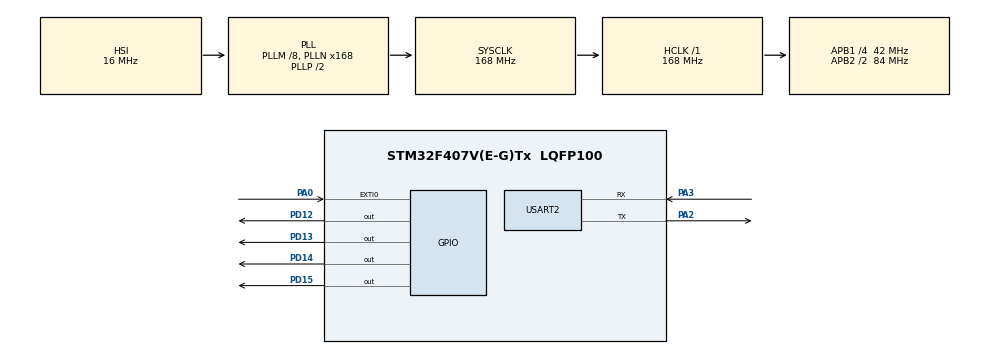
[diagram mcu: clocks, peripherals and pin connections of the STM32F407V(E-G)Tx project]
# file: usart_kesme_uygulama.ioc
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Mcu.Family=STM32F4
Mcu.Name=STM32F407V(E-G)Tx
Mcu.Package=LQFP100
NVIC.EXTI0_IRQn=true\:0\:0\:true\:false\:true\:true\:true\:true
NVIC.PriorityGroup=NVIC_PRIORITYGROUP_0
NVIC.USART2_IRQn=true\:0\:3\:true\:false\:true\:true\:true\:true
PA0-WKUP.Signal=GPXTI0
PA13.Mode=Serial_Wire
PA13.Signal=SYS_JTMS-SWDIO
PA14.Mode=Serial_Wire
PA14.Signal=SYS_JTCK-SWCLK
PA2.Mode=Asynchronous
PA2.Signal=USART2_TX
PA3.Mode=Asynchronous
PA3.Signal=USART2_RX
PD12.Signal=GPIO_Output
PD13.Signal=GPIO_Output
PD14.Signal=GPIO_Output
PD15.Signal=GPIO_Output
ProjectManager.HeapSize=0x200
ProjectManager.StackSize=0x400
ProjectManager.TargetToolchain=STM32CubeIDE
RCC.48MHZClocksFreq_Value=48000000
RCC.AHBFreq_Value=168000000
RCC.APB1CLKDivider=RCC_HCLK_DIV4
RCC.APB1Freq_Value=42000000
RCC.APB1TimFreq_Value=84000000
RCC.APB2CLKDivider=RCC_HCLK_DIV2
RCC.APB2Freq_Value=84000000
RCC.APB2TimFreq_Value=168000000
RCC.CortexFreq_Value=168000000
RCC.HCLKFreq_Value=168000000
RCC.HSE_VALUE=8000000
RCC.HSI_VALUE=16000000
RCC.LSE_VALUE=32768
RCC.PLLM=8
RCC.PLLN=168
RCC.PLLQ=7
RCC.SYSCLKFreq_VALUE=168000000
RCC.SYSCLKSource=RCC_SYSCLKSOURCE_PLLCLK
RCC.VCOOutputFreq_Value=336000000
USART2.VirtualMode=VM_ASYNC
board=STM32F407G-DISC1

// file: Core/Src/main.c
/* USER CODE BEGIN Header */
/**
 ******************************************************************************
 * @file           : main.c
 * @brief          : Main program body
 ******************************************************************************
 * @attention
 *
 * Copyright (c) 2025 STMicroelectronics.
 * All rights reserved.
 *
 * This software is licensed under terms that can be found in the LICENSE file
 * in the root directory of this software component.
 * If no LICENSE file comes with this software, it is provided AS-IS.
 *
 ******************************************************************************
 */
/* USER CODE END Header */
#include "main.h"

/* USER CODE BEGIN Includes */
#include "string.h"
#include "stdlib.h"

/* USER CODE END Includes */

/* USER CODE BEGIN PD */
#define anaprogram (GPIO_PIN_12|GPIO_PIN_15)
#define mesajBoyut 10
#define komut_1 "type1"
#define komut_2 "type2"

/* USER CODE END PD */

UART_HandleTypeDef huart2;

/* USER CODE BEGIN PV */

uint8_t rxKarakter;
char mesaj[mesajBoyut];
uint8_t bufferIndex = 0;
uint8_t blinkTime = 0;
uint8_t kesmeBayrak = 0;
uint8_t i;
int j;
uint16_t leds[] = { GPIO_PIN_12, GPIO_PIN_13, GPIO_PIN_14, GPIO_PIN_15 };
int k;

/* USER CODE END PV */

void SystemClock_Config(void);
static void MX_GPIO_Init(void);
static void MX_USART2_UART_Init(void);

int main(void)
{

  /* MCU Configuration--------------------------------------------------------*/

  /* Reset of all peripherals, Initializes the Flash interface and the Systick. */
  HAL_Init();

  /* Configure the system clock */
  SystemClock_Config();

  /* Initialize all configured peripherals */
  MX_GPIO_Init();
  MX_USART2_UART_Init();
  /* USER CODE BEGIN 2 */

	HAL_UART_Receive_IT(&huart2, &rxKarakter, 1);

  /* USER CODE END 2 */

  /* Infinite loop */
	while (1) {

    /* USER CODE BEGIN 3 */

		HAL_GPIO_WritePin(GPIOD, anaprogram, 1);

		if (kesmeBayrak == 1) {
			kesmeBayrak = 0;
			bufferIndex = 0;
			memset(mesaj, 0, mesajBoyut);
			HAL_GPIO_TogglePin(GPIOD, anaprogram);
			HAL_Delay(300);
			for (i = 0; i < 4; ++i) {
				if (kesmeBayrak == 4) break;
				HAL_GPIO_WritePin(GPIOD, leds[i], 1);
				HAL_Delay(300);
			}
			for (i = 0; i < 4; ++i) {
				if (kesmeBayrak == 4) break;
				HAL_GPIO_WritePin(GPIOD, leds[i], 0);
				HAL_Delay(300);
			}

		} else if (kesmeBayrak == 2) {
			kesmeBayrak = 0;
			bufferIndex = 0;
			memset(mesaj, 0, mesajBoyut);
			HAL_GPIO_TogglePin(GPIOD, anaprogram);
			HAL_Delay(300);
			for (j = 3; j >= 0; --j) {
				if (kesmeBayrak == 4) break;
				HAL_GPIO_WritePin(GPIOD, leds[j], 1);
				HAL_Delay(300);
			}
			HAL_GPIO_WritePin(GPIOD,
			GPIO_PIN_12 | GPIO_PIN_13 | GPIO_PIN_14 | GPIO_PIN_15, 0);

		} else if (kesmeBayrak == 3) {

			kesmeBayrak = 0;
			HAL_GPIO_TogglePin(GPIOD, anaprogram);
			HAL_Delay(300);
			for (k = 0; k < 10; ++k) {
				if (kesmeBayrak == 4) break;

				HAL_GPIO_WritePin(GPIOD, GPIO_PIN_12 | GPIO_PIN_14, 1);
				HAL_Delay(blinkTime * 100);
				HAL_GPIO_WritePin(GPIOD, GPIO_PIN_12 | GPIO_PIN_14, 0);
				HAL_Delay(blinkTime * 100);
			}

		}else if (kesmeBayrak == 4) {
			kesmeBayrak=0;
			HAL_GPIO_WritePin(GPIOD, GPIO_PIN_12|GPIO_PIN_13|GPIO_PIN_14|GPIO_PIN_15, 0);
			HAL_Delay(300);

			for (int m = 0; m < 2; ++m) {
				HAL_GPIO_WritePin(GPIOD, GPIO_PIN_13|GPIO_PIN_15, 1);
				HAL_Delay(300);
				HAL_GPIO_WritePin(GPIOD, GPIO_PIN_13|GPIO_PIN_15, 0);
				HAL_Delay(100);
				HAL_GPIO_WritePin(GPIOD, GPIO_PIN_12|GPIO_PIN_14, 1);
				HAL_Delay(300);
				HAL_GPIO_WritePin(GPIOD, GPIO_PIN_12|GPIO_PIN_14, 0);
			}

		}
	}
  /* USER CODE END 3 */
}

void SystemClock_Config(void)
{
  RCC_OscInitTypeDef RCC_OscInitStruct = {0};
  RCC_ClkInitTypeDef RCC_ClkInitStruct = {0};

  /** Configure the main internal regulator output voltage
  */
  __HAL_RCC_PWR_CLK_ENABLE();
  __HAL_PWR_VOLTAGESCALING_CONFIG(PWR_REGULATOR_VOLTAGE_SCALE1);

  /** Initializes the RCC Oscillators according to the specified parameters
  * in the RCC_OscInitTypeDef structure.
  */
  RCC_OscInitStruct.OscillatorType = RCC_OSCILLATORTYPE_HSI;
  RCC_OscInitStruct.HSIState = RCC_HSI_ON;
  RCC_OscInitStruct.HSICalibrationValue = RCC_HSICALIBRATION_DEFAULT;
  RCC_OscInitStruct.PLL.PLLState = RCC_PLL_ON;
  RCC_OscInitStruct.PLL.PLLSource = RCC_PLLSOURCE_HSI;
  RCC_OscInitStruct.PLL.PLLM = 8;
  RCC_OscInitStruct.PLL.PLLN = 168;
  RCC_OscInitStruct.PLL.PLLP = RCC_PLLP_DIV2;
  RCC_OscInitStruct.PLL.PLLQ = 7;
  if (HAL_RCC_OscConfig(&RCC_OscInitStruct) != HAL_OK)
  {
    Error_Handler();
  }

  /** Initializes the CPU, AHB and APB buses clocks
  */
  RCC_ClkInitStruct.ClockType = RCC_CLOCKTYPE_HCLK|RCC_CLOCKTYPE_SYSCLK
                              |RCC_CLOCKTYPE_PCLK1|RCC_CLOCKTYPE_PCLK2;
  RCC_ClkInitStruct.SYSCLKSource = RCC_SYSCLKSOURCE_PLLCLK;
  RCC_ClkInitStruct.AHBCLKDivider = RCC_SYSCLK_DIV1;
  RCC_ClkInitStruct.APB1CLKDivider = RCC_HCLK_DIV4;
  RCC_ClkInitStruct.APB2CLKDivider = RCC_HCLK_DIV2;

  if (HAL_RCC_ClockConfig(&RCC_ClkInitStruct, FLASH_LATENCY_5) != HAL_OK)
  {
    Error_Handler();
  }
}

static void MX_USART2_UART_Init(void)
{

  huart2.Instance = USART2;
  huart2.Init.BaudRate = 115200;
  huart2.Init.WordLength = UART_WORDLENGTH_8B;
  huart2.Init.StopBits = UART_STOPBITS_1;
  huart2.Init.Parity = UART_PARITY_NONE;
  huart2.Init.Mode = UART_MODE_TX_RX;
  huart2.Init.HwFlowCtl = UART_HWCONTROL_NONE;
  huart2.Init.OverSampling = UART_OVERSAMPLING_16;
  if (HAL_UART_Init(&huart2) != HAL_OK)
  {
    Error_Handler();
  }

}

static void MX_GPIO_Init(void)
{
  GPIO_InitTypeDef GPIO_InitStruct = {0};

  /* GPIO Ports Clock Enable */
  __HAL_RCC_GPIOA_CLK_ENABLE();
  __HAL_RCC_GPIOD_CLK_ENABLE();

  /*Configure GPIO pin Output Level */
  HAL_GPIO_WritePin(GPIOD, GPIO_PIN_12|GPIO_PIN_13|GPIO_PIN_14|GPIO_PIN_15, GPIO_PIN_RESET);

  /*Configure GPIO pin : PA0 */
  GPIO_InitStruct.Pin = GPIO_PIN_0;
  GPIO_InitStruct.Mode = GPIO_MODE_IT_RISING;
  GPIO_InitStruct.Pull = GPIO_NOPULL;
  HAL_GPIO_Init(GPIOA, &GPIO_InitStruct);

  /*Configure GPIO pins : PD12 PD13 PD14 PD15 */
  GPIO_InitStruct.Pin = GPIO_PIN_12|GPIO_PIN_13|GPIO_PIN_14|GPIO_PIN_15;
  GPIO_InitStruct.Mode = GPIO_MODE_OUTPUT_PP;
  GPIO_InitStruct.Pull = GPIO_NOPULL;
  GPIO_InitStruct.Speed = GPIO_SPEED_FREQ_LOW;
  HAL_GPIO_Init(GPIOD, &GPIO_InitStruct);

  /* EXTI interrupt init*/
  HAL_NVIC_SetPriority(EXTI0_IRQn, 0, 0);
  HAL_NVIC_EnableIRQ(EXTI0_IRQn);

}

/* USER CODE BEGIN 4 */

void HAL_UART_RxCpltCallback(UART_HandleTypeDef *huart) {

	if (huart->Instance == USART2) {

		if (bufferIndex < mesajBoyut - 1) {

			mesaj[bufferIndex++] = rxKarakter;
			mesaj[bufferIndex] = '\0';

		}

		if (strstr(mesaj, komut_1) != NULL) {
			kesmeBayrak = 1;

		} else if (strstr(mesaj, komut_2) != NULL) {
			kesmeBayrak = 2;

		} else if (strncmp(mesaj, "blink ", 6) == 0) {

			blinkTime = atoi(&mesaj[6]);
			if (blinkTime > 0) {
				kesmeBayrak = 3;
				memset(mesaj, 0, mesajBoyut);
				bufferIndex = 0;
			}

		}
	}
	HAL_UART_Receive_IT(huart, &rxKarakter, 1);

}

void HAL_GPIO_EXTI_Callback(uint16_t GPIO_Pin) {
	if (GPIO_Pin == GPIO_PIN_0) {

		kesmeBayrak = 4;

	}
}

/* USER CODE END 4 */

void Error_Handler(void)
{
	__disable_irq();
	while (1) {
	}
}
